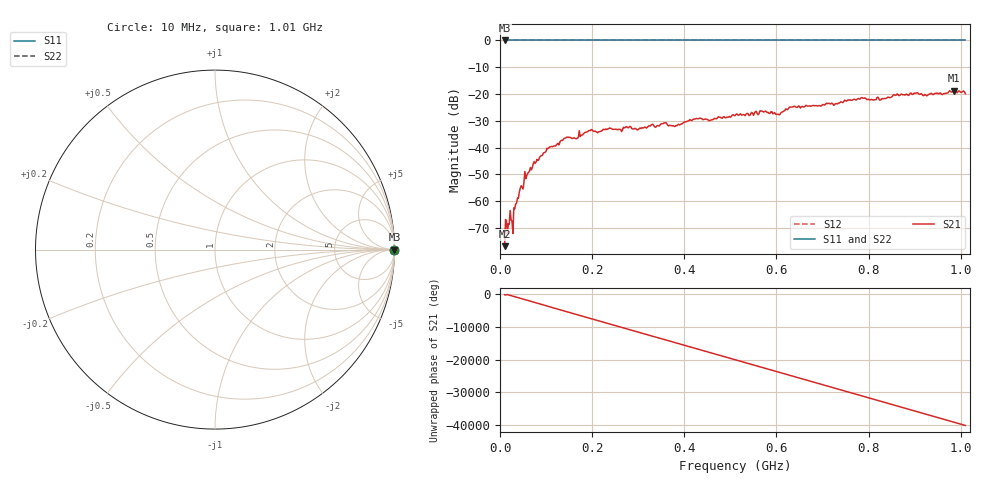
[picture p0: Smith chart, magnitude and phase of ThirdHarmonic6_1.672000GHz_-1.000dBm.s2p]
! 8/16/2025 8:03:19 PM
! C:\ANRITSUVNA\TEMP\TEMP.S2P
! CHANNEL.1
! TR.MEASUREMENT
! RAW.DATA
! RF.CORRECTION.OFF
! AVERAGING.OFF
! IF.BANDWIDTH: 5KHZ
! SWEEPTYPE:  FREQ.SWEEP(Linear)
! Reference Plane Port Info
! PORT:  PORT1  PORT2
! DISTANCE:  0  m  0  m
! TIME:  0  s  0  s
! PHASE.OFFSET:  0  deg.  0  deg.
! LOSS:  0  dB  0  dB
! REF.LOSS:  0  dB  0  dB
! REF.FREQ:  0  Hz  0  Hz
! Power Info
! POWER:  -20  dBm  -20  dBm
! EFF.POWER:  -20  dBm  -20  dBm
! SOURCE.ATTEN:  0  dB  0  dB
! TEST.ATTEN:  0  dB  0  dB
# GHZ S RI R 50.0
! FREQ.GHZ  S11RE  S11IM  S21RE  S21IM  S12RE  S12IM  S22RE  S22IM
!; PortSelection: Port_12
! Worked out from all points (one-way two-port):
!   501 points, 10 MHz to 1.01 GHz, reference 50 ohm
!   highest |S21| = -18.77 dB at 986 MHz (marker M1); lowest = -76.8 dB at 10 MHz (marker M2)
!   lowest |S11| = 0.0 dB at 10 MHz (marker M3)
!   |S11| at or under -10 dB: nowhere
!   |S22| runs from 0.0 to 0.0 dB; largest |S21 - S12| = 1.1
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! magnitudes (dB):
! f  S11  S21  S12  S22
! 10 MHz  0.0  -76.8  0.0  0.0
! 16 MHz  0.0  -72.6  0.0  0.0
! 28 MHz  0.0  -72.1  0.0  0.0
! 34 MHz  0.0  -61.1  0.0  0.0
! 56 MHz  0.0  -51.6  0.0  0.0
! 76 MHz  0.0  -46.0  0.0  0.0
! 106 MHz  0.0  -40.1  0.0  0.0
! 142 MHz  0.0  -36.5  0.0  0.0
! 178 MHz  0.0  -35.3  0.0  0.0
! 196 MHz  0.0  -33.7  0.0  0.0
! 344 MHz  0.0  -31.8  0.0  0.0
! 380 MHz  0.0  -32.1  0.0  0.0
! 424 MHz  0.0  -29.3  0.0  0.0
! 456 MHz  0.0  -29.8  0.0  0.0
! 510 MHz  0.0  -28.1  0.0  0.0
! 568 MHz  0.0  -26.4  0.0  0.0
! 604 MHz  0.0  -27.6  0.0  0.0
! 632 MHz  0.0  -24.9  0.0  0.0
! 678 MHz  0.0  -24.4  0.0  0.0
! 844 MHz  0.0  -21.2  0.0  0.0
! 986 MHz  0.0  -18.8  0.0  0.0
! 1.01 GHz  0.0  -19.9  0.0  0.0
